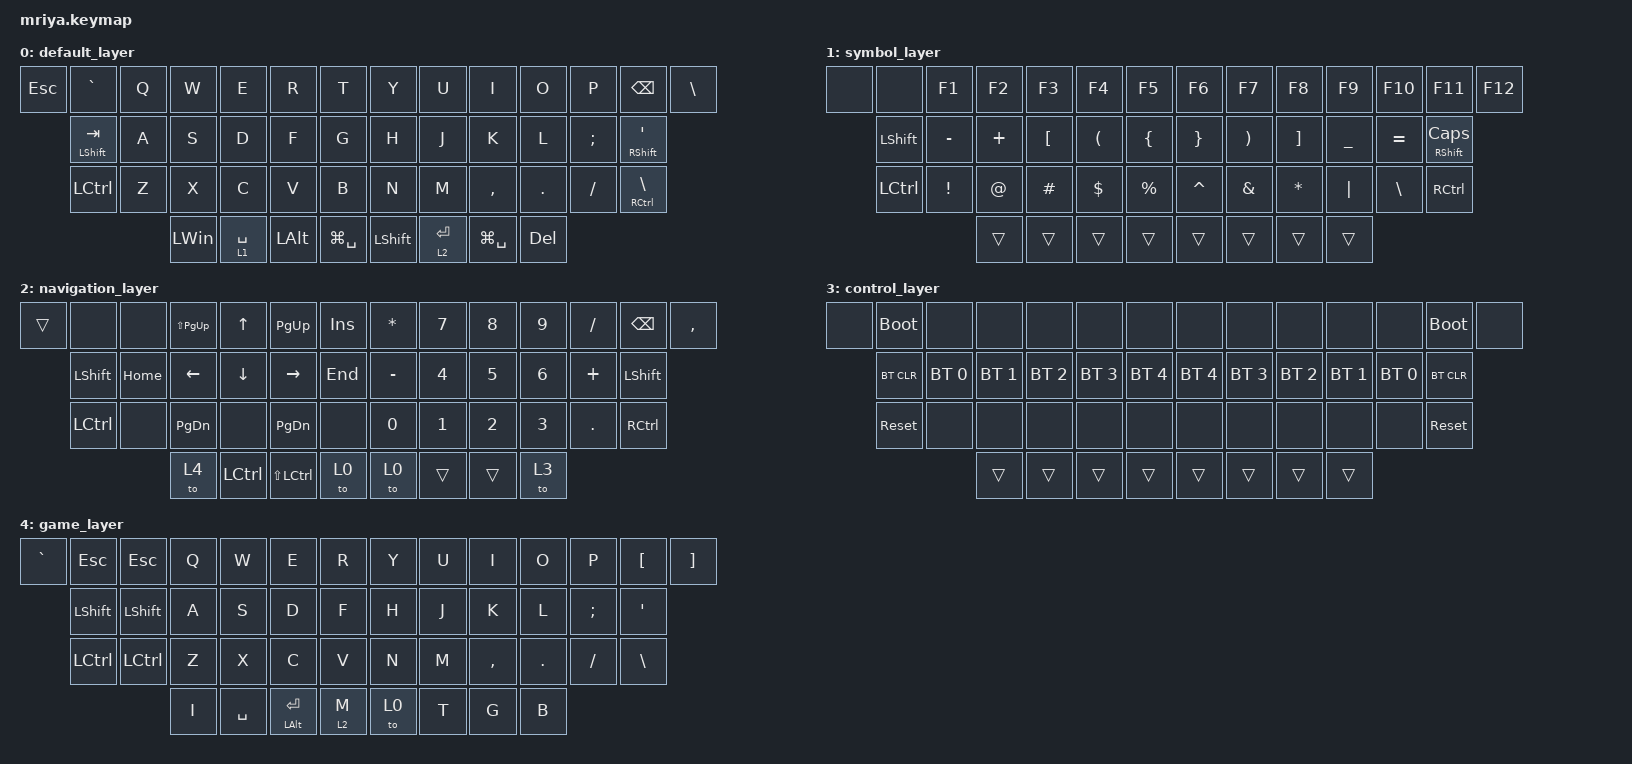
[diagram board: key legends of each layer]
/*
 * Copyright (c) 2023 Andrei Gaevskii
 *
 * SPDX-License-Identifier: MIT
 */

#include <behaviors.dtsi>
#include <dt-bindings/zmk/bt.h>
#include <dt-bindings/zmk/keys.h>

#define DEF 0
#define LWR 1
#define RSE 2
#define ADJ 3

&lt { quick_tap_ms = <200>; };

&mt { quick_tap_ms = <200>; };

/ {
    combos {
        compatible = "zmk,combos";

        x_rus {
            bindings = <&kp LEFT_BRACKET>;
            key-positions = <17 18>;
        };

        b_rus {
            bindings = <&kp RIGHT_BRACKET>;
            key-positions = <21 22>;
        };

        x_rus_shift {
            bindings = <&kp LS(LEFT_BRACKET)>;
            key-positions = <4 5>;
        };

        b_rus_shift {
            bindings = <&kp LS(RIGHT_BRACKET)>;
            key-positions = <8 9>;
        };
    };

    keymap {
        compatible = "zmk,keymap";

        default_layer {
            bindings = <
&kp ESCAPE  &kp GRAVE           &kp Q  &kp W         &kp E        &kp R         &kp T            &kp Y           &kp U        &kp I          &kp O       &kp P     &kp BACKSPACE        &kp BACKSLASH
            &mt LEFT_SHIFT TAB  &kp A  &kp S         &kp D        &kp F         &kp G            &kp H           &kp J        &kp K          &kp L       &kp SEMI  &mt RIGHT_SHIFT SQT
            &kp LCTRL           &kp Z  &kp X         &kp C        &kp V         &kp B            &kp N           &kp M        &kp COMMA      &kp DOT     &kp FSLH  &mt RCTRL BSLH
                                       &kp LEFT_WIN  &lt 1 SPACE  &kp LEFT_ALT  &kp LG(SPACE)    &kp LEFT_SHIFT  &lt 2 ENTER  &kp LG(SPACE)  &kp DELETE
            >;
        };

        symbol_layer {
            bindings = <
&none  &none           &kp F1     &kp F2    &kp F3            &kp F4                &kp F5            &kp F6           &kp F7                 &kp F8             &kp F9     &kp F10        &kp F11               &kp F12
       &kp LEFT_SHIFT  &kp MINUS  &kp PLUS  &kp LEFT_BRACKET  &kp LEFT_PARENTHESIS  &kp LEFT_BRACE    &kp RIGHT_BRACE  &kp RIGHT_PARENTHESIS  &kp RIGHT_BRACKET  &kp UNDER  &kp EQUAL      &mt RIGHT_SHIFT CAPS
       &kp LCTRL       &kp EXCL   &kp AT    &kp HASH          &kp DLLR              &kp PRCNT         &kp CARET        &kp AMPS               &kp ASTERISK       &kp PIPE   &kp BACKSLASH  &kp RCTRL
                                  &trans    &trans            &trans                &trans            &trans           &trans                 &trans             &trans
            >;
        };

        navigation_layer {
            bindings = <
&trans  &none           &none     &kp LS(PG_UP)   &kp UP_ARROW    &kp PAGE_UP      &kp INSERT    &kp ASTERISK  &kp N7        &kp N8  &kp N9  &kp FSLH  &kp BACKSPACE   &kp COMMA
        &kp LEFT_SHIFT  &kp HOME  &kp LEFT_ARROW  &kp DOWN_ARROW  &kp RIGHT_ARROW  &kp END       &kp MINUS     &kp N4        &kp N5  &kp N6  &kp PLUS  &kp LEFT_SHIFT
        &kp LCTRL       &none     &kp PAGE_DOWN   &none           &kp PAGE_DOWN    &none         &kp NUMBER_0  &kp NUMBER_1  &kp N2  &kp N3  &kp DOT   &kp RCTRL
                                  &to 4           &kp LCTRL       &kp LS(LCTRL)    &to 0         &to 0         &trans        &trans  &to 3
            >;
        };

        control_layer {
            bindings = <
&none  &bootloader  &none         &none         &none         &none         &none           &none         &none         &none         &none         &none         &bootloader  &none
       &bt BT_CLR   &bt BT_SEL 0  &bt BT_SEL 1  &bt BT_SEL 2  &bt BT_SEL 3  &bt BT_SEL 4    &bt BT_SEL 4  &bt BT_SEL 3  &bt BT_SEL 2  &bt BT_SEL 1  &bt BT_SEL 0  &bt BT_CLR
       &sys_reset   &none         &none         &none         &none         &none           &none         &none         &none         &none         &none         &sys_reset
                                  &trans        &trans        &trans        &trans          &trans        &trans        &trans        &trans
            >;
        };

        game_layer {
            bindings = <
&kp GRAVE  &kp ESC     &kp ESC    &kp Q  &kp W      &kp E               &kp R      &kp Y  &kp U  &kp I      &kp O    &kp P     &kp LBKT  &kp RBKT
           &kp LSHIFT  &kp LSHFT  &kp A  &kp S      &kp D               &kp F      &kp H  &kp J  &kp K      &kp L    &kp SEMI  &kp APOS
           &kp LCTRL   &kp LCTRL  &kp Z  &kp X      &kp C               &kp V      &kp N  &kp M  &kp COMMA  &kp DOT  &kp FSLH  &kp BSLH
                                  &kp I  &kp SPACE  &mt LEFT_ALT ENTER  &lt 2 M    &to 0  &kp T  &kp G      &kp B
            >;
        };
    };
};
